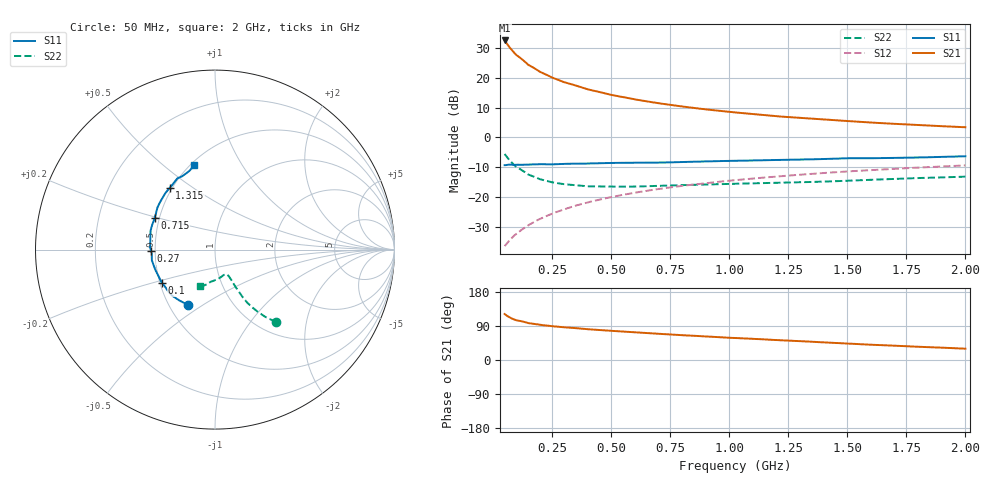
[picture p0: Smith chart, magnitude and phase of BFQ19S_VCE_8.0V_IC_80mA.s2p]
! Infineon Technologies  Discrete & RF Semiconductors
! BFQ19S
! VCE =  8.0 V,  IC =  80 mA
! Common Emitter S-Parameters:  Jan 2016
# GHz  S  MA  R  50
!  f  S11  S21  S12  S22
! GHz  MAG  ANG  MAG  ANG  MAG  ANG  MAG  ANG
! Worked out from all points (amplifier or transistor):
!   391 points, 50 MHz to 2 GHz, reference 50 ohm
!   highest |S21| = 32.5 dB at 50 MHz (marker M1)
!   |S21| within 3 dB of that: start of sweep to 78.15 MHz
!   unconditionally stable (mu >= 1): 228 MHz to 1.67 GHz
!   at 375 MHz: K = 1.03, MAG = 18.6 dB, |S12| = -22.3 dB
!   at 1.025 GHz: K = 1.03, MAG = 10.2 dB, |S12| = -14.3 dB
!   at 2 GHz: K = 0.97, MSG = 6.4 dB, |S12| = -9.4 dB
!   S11 on the Smith chart (normalised r, x): 50 MHz: 0.62, -0.44; 100 MHz: 0.51, -0.22; 270 MHz: 0.47, -0.01; 715 MHz: 0.47, +0.19; 1.315 GHz: 0.49, +0.41; 2 GHz: 0.52, +0.64
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0.05  0.3429 -115.6  42.36 121.3  0.015 66.9  0.5274 -49.9
0.06  0.346 -124.9  37.1 116.5  0.0166 67.0  0.4664 -53.3
0.07  0.3508 -133.0  32.82 112.7  0.0187 67.6  0.4178 -55.6
0.08  0.3493 -138.7  29.37 109.5  0.0205 67.8  0.3784 -57.4
0.09  0.3464 -143.9  26.5 107.0  0.0225 68.8  0.3459 -58.7
0.1  0.3491 -148.0  24.07 104.8  0.0241 69.9  0.319 -59.6
0.15  0.351 -161.2  16.56 97.4  0.0335 72.6  0.239 -61.2
0.2  0.3567 -170.3  12.59 92.7  0.0431 73.9  0.199 -61.6
0.25  0.3535 -176.5  10.13 89.2  0.0524 74.5  0.1772 -62.2
0.27  0.3564 -178.4  9.475 88.2  0.0562 74.5  0.1721 -62.4
0.3  0.3614 178.9  8.497 86.3  0.062 74.4  0.1645 -62.7
0.375  0.3635 172.9  6.938 82.8  0.0763 74.0  0.1548 -64.4
0.4  0.3651 170.9  6.426 81.3  0.0811 73.9  0.1516 -65.0
0.5  0.3741 163.7  5.188 77.0  0.0997 72.8  0.1492 -67.9
0.6  0.3765 158.6  4.347 73.0  0.1181 71.3  0.1498 -71.5
0.7  0.3779 153.4  3.755 69.2  0.1362 69.8  0.1536 -75.2
0.715  0.379 152.6  3.687 68.7  0.1388 69.5  0.1543 -75.8
1.03  0.4063 138.0  2.617 57.9  0.193 64.2  0.1674 -87.2
1.315  0.4266 126.2  2.108 49.3  0.2395 59.5  0.1778 -95.6
1.35  0.4295 124.6  2.061 48.2  0.2452 58.9  0.1792 -96.6
1.675  0.4522 111.7  1.714 38.4  0.2942 53.3  0.1998 -103.9
2  0.4835 103.7  1.483 29.9  0.3394 48.2  0.2198 -112.2
